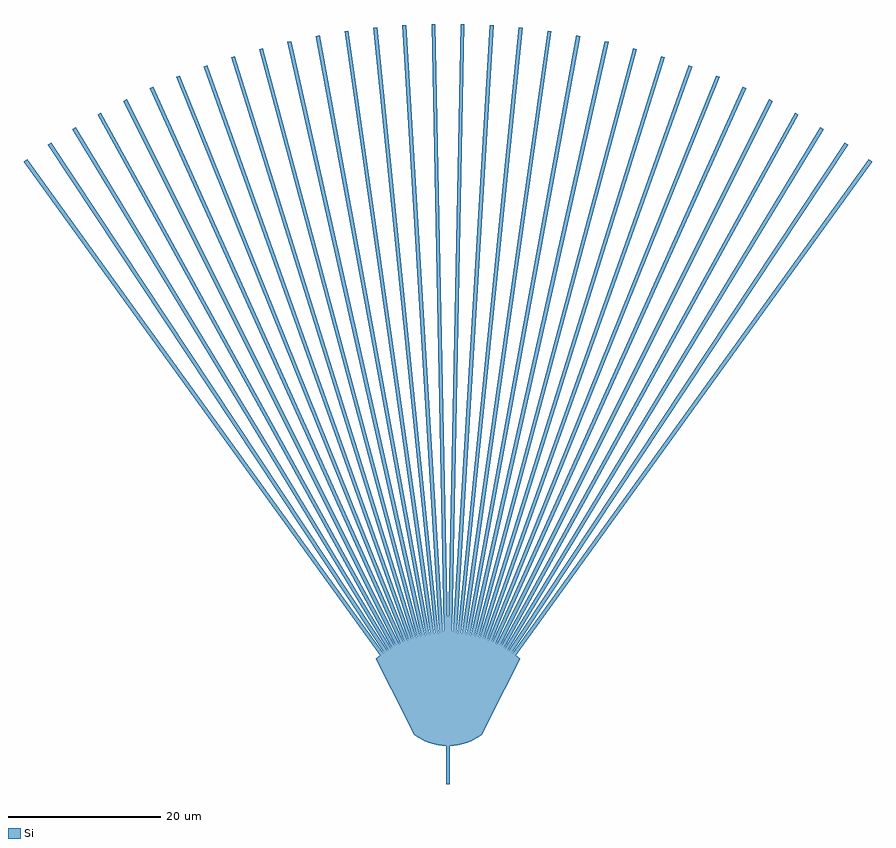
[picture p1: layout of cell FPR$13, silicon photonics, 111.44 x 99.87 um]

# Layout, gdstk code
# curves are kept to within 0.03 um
from math import pi, radians
import gdstk
lib = gdstk.Library(unit=1e-6, precision=1e-09)
def R(c, l, rs):  # rectangles x0, y0, x1, y1
    for r in rs: c.add(gdstk.rectangle(r[:2], r[2:], *l))
def P(c, l, *ps):  # polygons
    for p in ps: c.add(gdstk.Polygon(p, *l))
Si = (1, 0)

taper002_13 = lib.new_cell('taper002$13')
R(taper002_13, Si, [(-80,-0.25,2.5,0.25)])

taper_13 = lib.new_cell('taper$13')
R(taper_13, Si, [(-5,-0.25,2.5,0.25)])

boolean_13 = lib.new_cell('boolean$13')
P(boolean_13, Si, [(4.042,-9.461),(-5.95,-4.465),(-6.569,-3.493),(-7.076,-2.299),(-7.368,-1.035),(-7.44,0),(-7.368,1.035),(-7.076,2.299),(-6.569,3.493),(-5.95,4.465),(4.042,9.461),(4.896,8.321),(5.446,7.44),(6.154,6.052),(6.543,5.089),(6.864,4.101),(7.214,2.584),(7.404,1.038),(7.44,0),(7.404,-1.038),(7.214,-2.584),(6.864,-4.101),(6.543,-5.089),(6.154,-6.052),(5.446,-7.44),(4.896,-8.321)])

fpr_13 = lib.new_cell('FPR$13')
fpr_13.add(gdstk.Reference(taper002_13, (-75.667,4.627), rotation=radians(305.8123), x_reflection=True))
fpr_13.add(gdstk.Reference(taper002_13, (-75.173,4.968), rotation=radians(303.5018), x_reflection=True))
fpr_13.add(gdstk.Reference(taper002_13, (-74.147,5.589), rotation=radians(298.8809), x_reflection=True))
fpr_13.add(gdstk.Reference(taper002_13, (-73.616,5.868), rotation=radians(296.5704), x_reflection=True))
fpr_13.add(gdstk.Reference(taper002_13, (-73.074,6.126), rotation=radians(294.2599), x_reflection=True))
fpr_13.add(gdstk.Reference(taper002_13, (-62.528,6.765), rotation=radians(252.6715), x_reflection=True))
fpr_13.add(gdstk.Reference(taper002_13, (-61.959,6.574), rotation=radians(250.361), x_reflection=True))
fpr_13.add(gdstk.Reference(taper002_13, (-67.26,7.437), rotation=radians(271.1552), x_reflection=True))
fpr_13.add(gdstk.Reference(taper002_13, (-63.687,7.076), rotation=radians(257.2924), x_reflection=True))
fpr_13.add(gdstk.Reference(taper002_13, (-71.392,6.765), rotation=radians(287.3285), x_reflection=True))
fpr_13.add(gdstk.Reference(taper002_13, (-60.846,6.126), rotation=radians(245.7401), x_reflection=True))
fpr_13.add(gdstk.Reference(taper002_13, (-60.304,5.868), rotation=radians(243.4296), x_reflection=True))
fpr_13.add(gdstk.Reference(taper002_13, (-72.522,6.361), rotation=radians(291.9495), x_reflection=True))
fpr_13.add(gdstk.Reference(taper002_13, (-63.104,6.932), rotation=radians(254.9819), x_reflection=True))
fpr_13.add(gdstk.Reference(taper002_13, (-59.773,5.589), rotation=radians(241.1191), x_reflection=True))
fpr_13.add(gdstk.Reference(taper002_13, (-59.254,5.289), rotation=radians(238.8087), x_reflection=True))
fpr_13.add(gdstk.Reference(taper002_13, (-68.458,7.364), rotation=radians(275.7762), x_reflection=True))
fpr_13.add(gdstk.Reference(taper002_13, (-58.747,4.968), rotation=radians(236.4982), x_reflection=True))
fpr_13.add(gdstk.Reference(taper002_13, (-58.253,4.627), rotation=radians(234.1877), x_reflection=True))
fpr_13.add(gdstk.Reference(taper002_13, (-61.398,6.361), rotation=radians(248.0505), x_reflection=True))
fpr_13.add(gdstk.Reference(taper_13, (-66.96,-7.44), rotation=pi/2))
fpr_13.add(gdstk.Reference(boolean_13, (-66.96,0), rotation=pi/2))
fpr_13.add(gdstk.Reference(taper002_13, (-66.66,7.437), rotation=radians(268.8448), x_reflection=True))
fpr_13.add(gdstk.Reference(taper002_13, (-64.275,7.196), rotation=radians(259.6029), x_reflection=True))
fpr_13.add(gdstk.Reference(taper002_13, (-64.867,7.292), rotation=radians(261.9134), x_reflection=True))
fpr_13.add(gdstk.Reference(taper002_13, (-66.06,7.413), rotation=radians(266.5343), x_reflection=True))
fpr_13.add(gdstk.Reference(taper002_13, (-74.666,5.289), rotation=radians(301.1913), x_reflection=True))
fpr_13.add(gdstk.Reference(taper002_13, (-67.86,7.413), rotation=radians(273.4657), x_reflection=True))
fpr_13.add(gdstk.Reference(taper002_13, (-69.645,7.196), rotation=radians(280.3971), x_reflection=True))
fpr_13.add(gdstk.Reference(taper002_13, (-70.816,6.932), rotation=radians(285.0181), x_reflection=True))
fpr_13.add(gdstk.Reference(taper002_13, (-65.462,7.364), rotation=radians(264.2238), x_reflection=True))
fpr_13.add(gdstk.Reference(taper002_13, (-69.053,7.292), rotation=radians(278.0866), x_reflection=True))
fpr_13.add(gdstk.Reference(taper002_13, (-70.233,7.076), rotation=radians(282.7076), x_reflection=True))
fpr_13.add(gdstk.Reference(taper002_13, (-71.961,6.574), rotation=radians(289.639), x_reflection=True))

lib.write_gds('FPR_13.gds')
